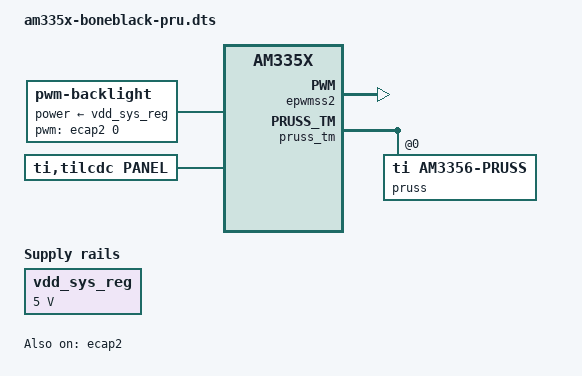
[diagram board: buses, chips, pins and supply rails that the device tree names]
/*
 * Copyright (C) 2012 Texas Instruments Incorporated - http://www.ti.com/
 *
 * This program is free software; you can redistribute it and/or modify
 * it under the terms of the GNU General Public License version 2 as
 * published by the Free Software Foundation.
 *
 * Copyright (C) 2019-2021 Bootlin SAS - https://bootlin.com
 * Adapted from DT overlay sources for the 4.3" cape from Element14
 * https://www.element14.com/bbcape43
 *
 * Copyright (C) 2021 Cristian Ciocaltea <cristian.ciocaltea@gmail.com>
 * - Added support for accessing the Programmable Real-Time Units (PRU)
 * - Added workaround for HDMI conflict
 * - Added beaglecam_pins pinmux configuration
 * - Added a fixed voltage regulator to provide power-supply for backlight
 */
/dts-v1/;

#include "am335x-boneblack.dts"

/ {
	backlight {
		compatible = "pwm-backlight";
		pinctrl-names = "default";
		pinctrl-0 = <&bb_lcd_pwm_backlight_pins>;

		pwms = <&ecap2 0 500000 0>;
		pwm-names = "LCD4";
		brightness-levels = < 0  1  2  3  4  5  6  7  8  9
				     10 11 12 13 14 15 16 17 18 19
				     20 21 22 23 24 25 26 27 28 29
				     30 31 32 33 34 35 36 37 38 39
				     40 41 42 43 44 45 46 47 48 49
				     50 51 52 53 54 55 56 57 58 59
				     60 61 62 63 64 65 66 67 68 69
				     70 71 72 73 74 75 76 77 78 79
				     80 81 82 83 84 85 86 87 88 89
				     90 91 92 93 94 95 96 97 98 99
				    100>;
		default-brightness-level = <10>;
		power-supply = <&vdd_sys_reg>;
		status = "okay";
	};

	/* Settings for NHD-4.3-ATXI#-T-1 / LCD4 cape: */
	panel {
		compatible = "ti,tilcdc,panel";
		pinctrl-names = "default";
		pinctrl-0 = <&bb_lcd_lcd_pins>;
		status = "okay";

		panel-info {
			ac-bias		= <255>;
			ac-bias-intrpt	= <0>;
			dma-burst-sz	= <16>;
			bpp		= <16>;
			fdd		= <0x80>;
			tft-alt-mode	= <0>;
			stn-565-mode	= <0>;
			mono-8bit-mode	= <0>;
			sync-edge	= <0>;
			sync-ctrl	= <1>;
			raster-order	= <0>;
			fifo-th		= <0>;
		};

		/* ILI6480 */
		display-timings {
			native-mode = <&timing0>;
			timing0: 480x272 {
				clock-frequency = <9000000>;
				hactive		= <480>;
				vactive		= <272>;
				hfront-porch	= <5>;
				hback-porch	= <40>;
				hsync-len	= <1>;
				vback-porch 	= <8>;
				vfront-porch	= <8>;
				vsync-len	= <1>;
				hsync-active	= <0>;
				vsync-active	= <0>;
			};
		};
	};

	vdd_sys_reg: regulator@0 {
		compatible = "regulator-fixed";
		regulator-name = "vdd_sys_reg";
		regulator-min-microvolt = <5000000>;
		regulator-max-microvolt = <5000000>;
		regulator-always-on;
	};
};

&am33xx_pinmux {
	pinctrl-names = "default";
	pinctrl-0 = <&beaglecam_pins>;

	bb_lcd_pwm_backlight_pins: pinmux_bb_lcd_pwm_backlight_pins {
		pinctrl-single,pins = <
			AM33XX_PADCONF(AM335X_PIN_MCASP0_AHCLKR, PIN_OUTPUT, MUX_MODE4)	/* mcasp0_ahclkr.eCAP2_in_PWM2_out */
		>;
	};

	bb_lcd_lcd_pins: pinmux_bb_lcd_lcd_pins {
		pinctrl-single,pins = <
			AM33XX_PADCONF(AM335X_PIN_LCD_DATA0, PIN_OUTPUT, MUX_MODE0)	/* lcd_data0 */
			AM33XX_PADCONF(AM335X_PIN_LCD_DATA1, PIN_OUTPUT, MUX_MODE0)	/* lcd_data1 */
			AM33XX_PADCONF(AM335X_PIN_LCD_DATA2, PIN_OUTPUT, MUX_MODE0)	/* lcd_data2 */
			AM33XX_PADCONF(AM335X_PIN_LCD_DATA3, PIN_OUTPUT, MUX_MODE0)	/* lcd_data3 */
			AM33XX_PADCONF(AM335X_PIN_LCD_DATA4, PIN_OUTPUT, MUX_MODE0)	/* lcd_data4 */
			AM33XX_PADCONF(AM335X_PIN_LCD_DATA5, PIN_OUTPUT, MUX_MODE0)	/* lcd_data5 */
			AM33XX_PADCONF(AM335X_PIN_LCD_DATA6, PIN_OUTPUT, MUX_MODE0)	/* lcd_data6 */
			AM33XX_PADCONF(AM335X_PIN_LCD_DATA7, PIN_OUTPUT, MUX_MODE0)	/* lcd_data7 */
			AM33XX_PADCONF(AM335X_PIN_LCD_DATA8, PIN_OUTPUT, MUX_MODE0)	/* lcd_data8 */
			AM33XX_PADCONF(AM335X_PIN_LCD_DATA9, PIN_OUTPUT, MUX_MODE0)	/* lcd_data9 */
			AM33XX_PADCONF(AM335X_PIN_LCD_DATA10, PIN_OUTPUT, MUX_MODE0)	/* lcd_data10 */
			AM33XX_PADCONF(AM335X_PIN_LCD_DATA11, PIN_OUTPUT, MUX_MODE0)	/* lcd_data11 */
			AM33XX_PADCONF(AM335X_PIN_LCD_DATA12, PIN_OUTPUT, MUX_MODE0)	/* lcd_data12 */
			AM33XX_PADCONF(AM335X_PIN_LCD_DATA13, PIN_OUTPUT, MUX_MODE0)	/* lcd_data13 */
			AM33XX_PADCONF(AM335X_PIN_LCD_DATA14, PIN_OUTPUT, MUX_MODE0)	/* lcd_data14 */
			AM33XX_PADCONF(AM335X_PIN_LCD_DATA15, PIN_OUTPUT, MUX_MODE0)	/* lcd_data15 */
			AM33XX_PADCONF(AM335X_PIN_LCD_VSYNC, PIN_OUTPUT, MUX_MODE0)	/* lcd_vsync */
			AM33XX_PADCONF(AM335X_PIN_LCD_HSYNC, PIN_OUTPUT, MUX_MODE0)	/* lcd_hsync */
			AM33XX_PADCONF(AM335X_PIN_LCD_PCLK, PIN_OUTPUT, MUX_MODE0)	/* lcd_pclk */
			AM33XX_PADCONF(AM335X_PIN_LCD_AC_BIAS_EN, PIN_OUTPUT, MUX_MODE0) /* lcd_ac_bias_en */
		>;
	};

	beaglecam_pins: pinmux_beaglecam_pins {
		pinctrl-single,pins = <
			/* GPIO output on P9_13 to signal system boot completion */
			AM33XX_PADCONF(AM335X_PIN_GPMC_WPN, PIN_OUTPUT, MUX_MODE7)	/* gpmc_wpn.gpio0[31] */

			/* PRU1 output on P8_20 to control a diagnosis LED */
			AM33XX_PADCONF(AM335X_PIN_GPMC_CSN2, PIN_OUTPUT, MUX_MODE5)	/* gpmc_csn2.pr1_pru1_pru_r30_13 */

			/* PRU0 input on P9_31 to read camera pin D0 */
			AM33XX_PADCONF(AM335X_PIN_MCASP0_ACLKX, PIN_INPUT, MUX_MODE6)	/* mcasp0_aclkx.pr1_pru0_pru_r31_0 */

			/* PRU0 input on P9_29 to read camera pin D1 */
			AM33XX_PADCONF(AM335X_PIN_MCASP0_FSX, PIN_INPUT, MUX_MODE6)	/* mcasp0_fsx.pr1_pru0_pru_r31_1 */

			/* PRU0 input on P9_30 to read camera pin D2 */
			AM33XX_PADCONF(AM335X_PIN_MCASP0_AXR0, PIN_INPUT, MUX_MODE6)	/* mcasp0_axr0.pr1_pru0_pru_r31_2 */

			/*
			 * Bit 4 of the PRU0 registers 30 & 31 (GPIO3_18) is shared
			 * with GPIO0_7 on P9_42, hence set GPIO0_7 to input mode.
			 */
			AM33XX_PADCONF(AM335X_PIN_ECAP0_IN_PWM0_OUT, PIN_INPUT, MUX_MODE7) /* eCAP0_in_PWM0_out.gpio0[7] */
			/* PRU0 input on P9_42 to read camera pin D4 */
			AM33XX_PADCONF(AM335X_PIN_MCASP0_ACLKR, PIN_INPUT, MUX_MODE6)	/* mcasp0_aclkr.pr1_pru0_pru_r31_4 */

			/* PRU0 input on P9_27 to read camera pin D5 */
			AM33XX_PADCONF(AM335X_PIN_MCASP0_FSR, PIN_INPUT, MUX_MODE6)	/* mcasp0_fsr.pr1_pru0_pru_r31_5 */

			/*
			 * Bit 6 of the PRU0 registers 30 & 31 (GPIO3_20) is shared
			 * with GPIO0_20 on P9_41, hence set GPIO0_20 to input mode.
			 */
			AM33XX_PADCONF(AM335X_PIN_XDMA_EVENT_INTR1, PIN_INPUT, MUX_MODE7) /* xdma_event_intr1.gpio0[20] */
			/* PRU0 input on P9_41 to read camera pin D6 */
			AM33XX_PADCONF(AM335X_PIN_MCASP0_AXR1, PIN_INPUT, MUX_MODE6)	/* mcasp0_axr1.pr1_pru0_pru_r31_6 */

			/* PRU0 input on P9_25 to read camera pin D7 */
			AM33XX_PADCONF(AM335X_PIN_MCASP0_AHCLKX, PIN_INPUT, MUX_MODE6)	/* mcasp0_ahclkx.pr1_pru0_pru_r31_7 */

			/* PRU0 input on P8_16 to read camera pin D3 */
			AM33XX_PADCONF(AM335X_PIN_GPMC_AD14, PIN_INPUT, MUX_MODE6)	/* gpmc_ad14.pr1_pru0_pru_r31_14 */

			/* PRU0 input on P8_15 to read camera pin PCLK */
			AM33XX_PADCONF(AM335X_PIN_GPMC_AD15, PIN_INPUT, MUX_MODE6)	/* gpmc_ad15.pr1_pru0_pru_r31_15 */

			/* PRU0 input on P9_24 to read camera pin HREF */
			AM33XX_PADCONF(AM335X_PIN_UART1_TXD, PIN_INPUT, MUX_MODE6)	/* uart1_txd.pr1_pru0_pru_r31_16 */

			/* PRU1 input on P8_21 to read camera pin VSYNC */
			AM33XX_PADCONF(AM335X_PIN_GPMC_CSN1, PIN_INPUT, MUX_MODE6)	/* gpmc_csn1.pr1_pru1_pru_r31_12 */
		>;
	};
};

&epwmss2 {
	/* Parent to ecap */
	status = "okay";
};

&ecap2 {
	status = "okay";
};

/* Workaround for HDMI conflict */
&tda19988 { /delete-node/ ports; };
&lcdc { /delete-node/ port; };

/* PRU setup */
&pruss_tm {
	status = "okay";

	reg = <0x326004 0x4>;
	reg-names = "sysc";

	pruss: pruss@0 {
		compatible = "ti,am3356-pruss";
		reg = <0x0 0x80000>;
		#address-cells = <1>;
		#size-cells = <1>;
		ranges;

		pruss_mem: memories@0 {
			reg = <0x0 0x2000>, <0x2000 0x2000>, <0x10000 0x3000>;
			reg-names = "dram0", "dram1", "shrdram2";
		};

		pruss_cfg: cfg@26000 {
			compatible = "ti,pruss-cfg", "syscon";
			#address-cells = <1>;
			#size-cells = <1>;
			reg = <0x26000 0x2000>;
			ranges = <0x00 0x26000 0x2000>;

			clocks {
				#address-cells = <1>;
				#size-cells = <0>;

				pruss_iepclk_mux: iepclk-mux@30 {
					reg = <0x30>;
					#clock-cells = <0>;
					clocks = <&l3_gclk>,	    /* icss_iep */
						 <&pruss_ocp_gclk>; /* icss_ocp */
				};
			};
		};

		pruss_iep: iep@2e000 {
			compatible = "syscon";
			reg = <0x2e000 0x31c>;
		};

		pruss_mii_rt: mii-rt@32000 {
			compatible = "ti,pruss-mii", "syscon";
			reg = <0x32000 0x58>;
		};

		pruss_mdio: mdio@32400 {
			compatible = "ti,davinci_mdio";
			reg = <0x32400 0x90>;
			clocks = <&dpll_core_m4_ck>;
			clock-names = "fck";
			bus_freq = <1000000>;
			#address-cells = <1>;
			#size-cells = <0>;
			status = "disabled";
		};

		pruss_intc: interrupt-controller@20000 {
			compatible = "ti,pruss-intc";
			reg = <0x20000 0x2000>;
			interrupts = <20 21 22 23 24 25 26 27>;
			interrupt-names = "host_intr0", "host_intr1",
					  "host_intr2", "host_intr3",
					  "host_intr4", "host_intr5",
					  "host_intr6", "host_intr7";
			interrupt-controller;
			#interrupt-cells = <3>;
		};

		pru0: pru@34000 {
			compatible = "ti,am3356-pru";
			reg = <0x34000 0x2000>,
				  <0x22000 0x400>,
				  <0x22400 0x100>;
			reg-names = "iram", "control", "debug";
			firmware-name = "am335x-pru0-fw";
			interrupt-parent = <&pruss_intc>;
			interrupts = <16 2 2>, <17 0 0>;
			interrupt-names = "vring", "kick";
		};

		pru1: pru@38000 {
			compatible = "ti,am3356-pru";
			reg = <0x38000 0x2000>,
				  <0x24000 0x400>,
				  <0x24400 0x100>;
			reg-names = "iram", "control", "debug";
			firmware-name = "am335x-pru1-fw";
			interrupt-parent = <&pruss_intc>;
			interrupts = <18 3 3>, <19 1 1>;
			interrupt-names = "vring", "kick";
		};
	};
};
